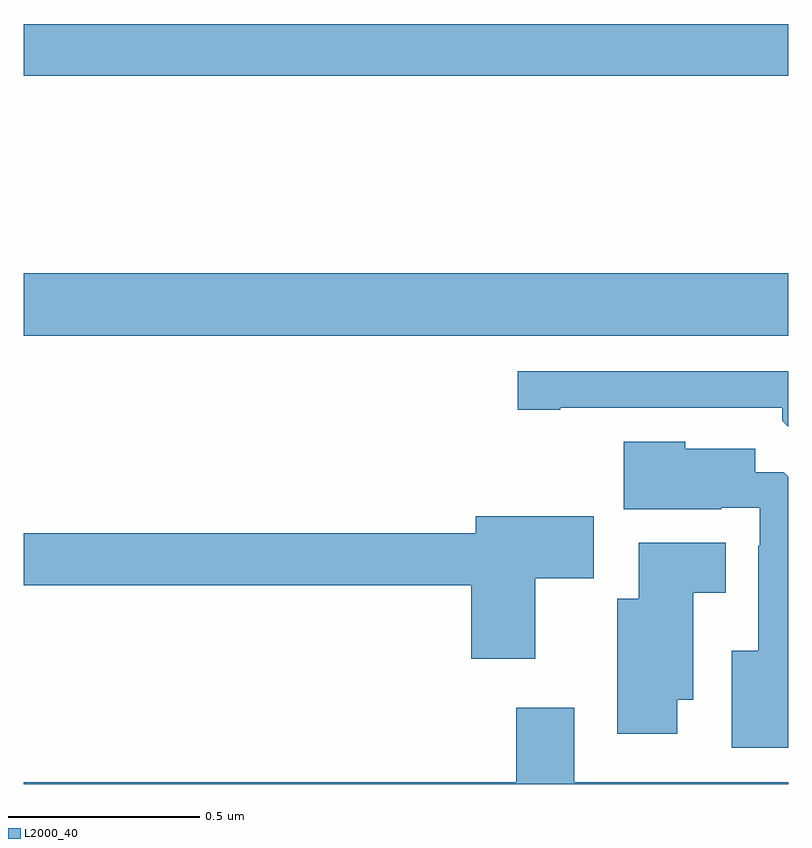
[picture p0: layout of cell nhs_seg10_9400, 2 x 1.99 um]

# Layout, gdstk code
import gdstk
lib = gdstk.Library(unit=1e-6, precision=1e-09)
def R(c, l, rs):  # rectangles x0, y0, x1, y1
    for r in rs: c.add(gdstk.rectangle(r[:2], r[2:], *l))
def P(c, l, *ps):  # polygons
    for p in ps: c.add(gdstk.Polygon(p, *l))
L2000_40 = (2000, 40)

nhs_seg10_9400 = lib.new_cell('nhs_seg10_9400')
R(nhs_seg10_9400, L2000_40, [(229,1277.672,231,1277.836), (229,1278.352,231,1278.488)])
P(nhs_seg10_9400, L2000_40, [(231,1277.58),(230.292,1277.58),(230.292,1277.479),(230.404,1277.479),(230.404,1277.484),(230.984,1277.484),(230.984,1277.45),(231,1277.434)],
  [(231,1277.304),(230.988,1277.316),(230.914,1277.316),(230.914,1277.377),(230.73,1277.377),(230.73,1277.395),(230.57,1277.395),(230.57,1277.219),(230.825,1277.219),(230.825,1277.223),(230.925,1277.223),(230.925,1277.123),(230.921,1277.123),(230.921,1276.849),(230.852,1276.849),(230.852,1276.595),(231,1276.595)],
  [(230.338,1277.038),(230.491,1277.038),(230.491,1277.2),(230.183,1277.2),(230.183,1277.156),(229,1277.156),(229,1277.02),(230.171,1277.02),(230.171,1276.827),(230.338,1276.827)],
  [(230.71,1276.721),(230.752,1276.721),(230.752,1277),(230.836,1277),(230.836,1277.131),(230.609,1277.131),(230.609,1276.984),(230.552,1276.984),(230.552,1276.632),(230.71,1276.632)],
  [(231,1276.504),(230.44,1276.504),(230.44,1276.699),(230.288,1276.699),(230.288,1276.504),(229,1276.504),(229,1276.5),(231,1276.5)])

lib.write_gds('nhs_seg10_9400.gds')
